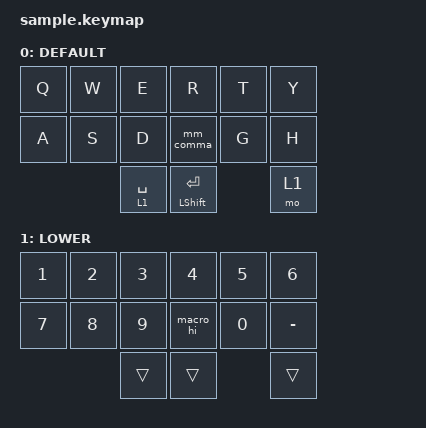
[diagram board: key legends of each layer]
/*
 * sample.keymap — a tiny, generic ZMK keymap used to demo keymap_docgen.py.
 *
 * It is intentionally NOT a real board: a 3+3 split with two rows and three
 * thumb keys (15 positions). It exercises the behaviours the doc generator
 * understands — &kp, &mt (mod-tap), &lt (layer-tap), &mo (momentary layer),
 * a mod-morph, and a macro — so you can see how each renders.
 *
 * Render it with:
 *   python ../keymap_docgen.py sample.keymap -l sample.layout.json -o /tmp/sample.xlsx
 */

#include <behaviors.dtsi>
#include <dt-bindings/zmk/keys.h>

/ {
    macros {
        macro_hi: macro_hi {
            compatible = "zmk,behavior-macro";
            #binding-cells = <0>;
            bindings = <&kp H>, <&kp I>;
        };
    };

    behaviors {
        mm_comma: mm_comma {
            compatible = "zmk,behavior-mod-morph";
            #binding-cells = <0>;
            bindings = <&kp COMMA>, <&kp SEMICOLON>;
            mods = <(MOD_LSFT|MOD_RSFT)>;
        };
    };

    keymap {
        compatible = "zmk,keymap";

        DEFAULT {
            bindings = <
                &kp Q  &kp W  &kp E      &kp R       &kp T   &kp Y
                &kp A  &kp S  &kp D      &mm_comma   &kp G   &kp H
                              &lt 1 SPACE  &mt LSHIFT ENTER  &mo 1
            >;
        };

        LOWER {
            bindings = <
                &kp N1  &kp N2  &kp N3   &kp N4     &kp N5  &kp N6
                &kp N7  &kp N8  &kp N9   &macro_hi  &kp N0  &kp MINUS
                                &trans     &trans     &trans
            >;
        };
    };
};
